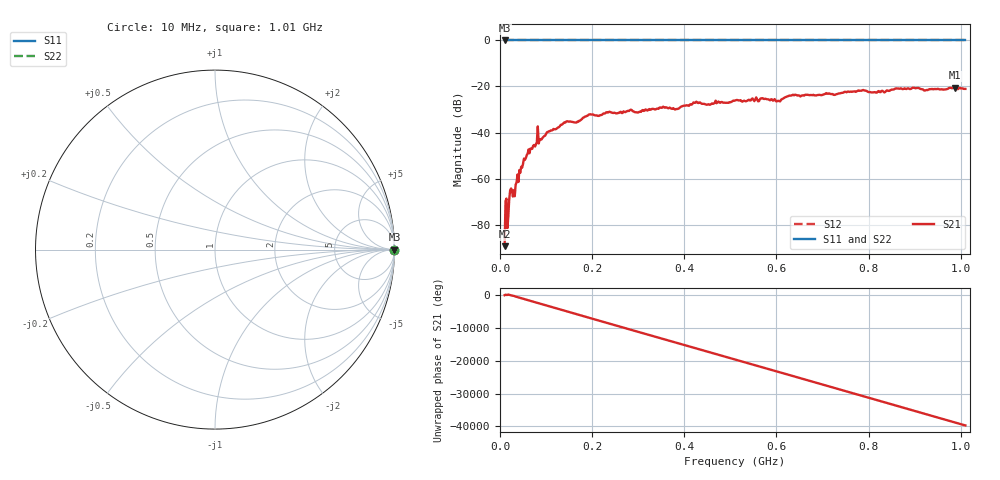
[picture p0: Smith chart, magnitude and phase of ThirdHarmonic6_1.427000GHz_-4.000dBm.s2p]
! 8/16/2025 4:25:58 PM
! C:\ANRITSUVNA\TEMP\TEMP.S2P
! CHANNEL.1
! TR.MEASUREMENT
! RAW.DATA
! RF.CORRECTION.OFF
! AVERAGING.OFF
! IF.BANDWIDTH: 5KHZ
! SWEEPTYPE:  FREQ.SWEEP(Linear)
! Reference Plane Port Info
! PORT:  PORT1  PORT2
! DISTANCE:  0  m  0  m
! TIME:  0  s  0  s
! PHASE.OFFSET:  0  deg.  0  deg.
! LOSS:  0  dB  0  dB
! REF.LOSS:  0  dB  0  dB
! REF.FREQ:  0  Hz  0  Hz
! Power Info
! POWER:  -20  dBm  -20  dBm
! EFF.POWER:  -20  dBm  -20  dBm
! SOURCE.ATTEN:  0  dB  0  dB
! TEST.ATTEN:  0  dB  0  dB
# GHZ S RI R 50.0
! FREQ.GHZ  S11RE  S11IM  S21RE  S21IM  S12RE  S12IM  S22RE  S22IM
!; PortSelection: Port_12
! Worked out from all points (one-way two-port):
!   501 points, 10 MHz to 1.01 GHz, reference 50 ohm
!   highest |S21| = -20.50 dB at 988 MHz (marker M1); lowest = -89.4 dB at 10 MHz (marker M2)
!   lowest |S11| = 0.0 dB at 10 MHz (marker M3)
!   |S11| at or under -10 dB: nowhere
!   |S22| runs from 0.0 to 0.0 dB; largest |S21 - S12| = 1.1
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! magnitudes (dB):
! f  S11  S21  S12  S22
! 10 MHz  0.0  -89.4  0.0  0.0
! 14 MHz  0.0  -68.7  0.0  0.0
! 20 MHz  0.0  -69.1  0.0  0.0
! 24 MHz  0.0  -64.3  0.0  0.0
! 32 MHz  0.0  -67.7  0.0  0.0
! 38 MHz  0.0  -58.3  0.0  0.0
! 50 MHz  0.0  -53.6  0.0  0.0
! 78 MHz  0.0  -45.2  0.0  0.0
! 142 MHz  0.0  -35.7  0.0  0.0
! 178 MHz  0.0  -34.1  0.0  0.0
! 196 MHz  0.0  -32.1  0.0  0.0
! 344 MHz  0.0  -29.7  0.0  0.0
! 382 MHz  0.0  -29.8  0.0  0.0
! 424 MHz  0.0  -27.1  0.0  0.0
! 452 MHz  0.0  -27.7  0.0  0.0
! 510 MHz  0.0  -26.1  0.0  0.0
! 604 MHz  0.0  -26.2  0.0  0.0
! 632 MHz  0.0  -23.9  0.0  0.0
! 678 MHz  0.0  -23.8  0.0  0.0
! 844 MHz  0.0  -21.9  0.0  0.0
! 988 MHz  0.0  -20.5  0.0  0.0
! 1.01 GHz  0.0  -21.0  0.0  0.0
